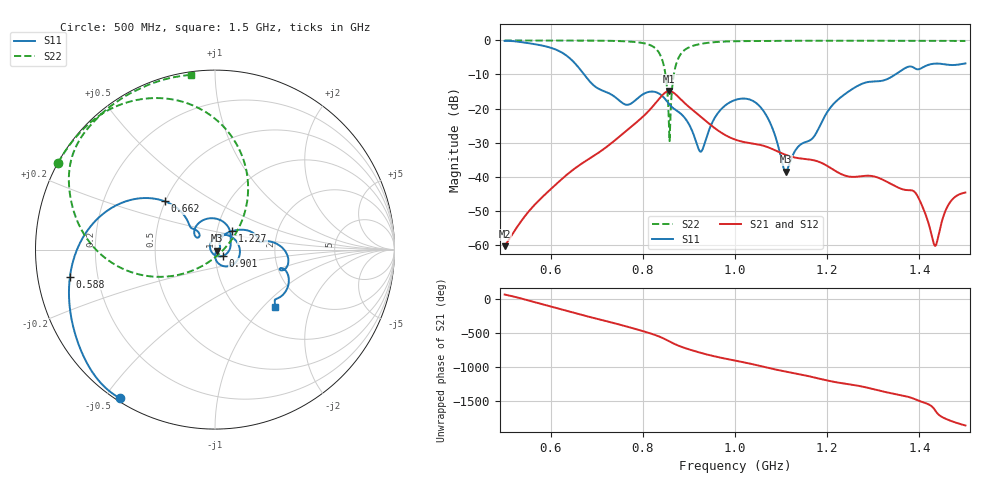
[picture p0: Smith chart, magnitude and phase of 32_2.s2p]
! TOUCHSTONE file generated by CST MICROWAVE STUDIO
! Date and time: Fri Oct  2 16:19:56 2020
! Project name: Scenario_1_Free_Space_out_of_line.cst
! Parameters = {Lambda=346.42; Step_1=17.321; dy1=-189.931; dx1=346; L_HA=400; MT=2.54; Rad_Dielectric=30; Rad_Lower=7.3; Rad_Upper=30; a_HA=580; a_WG=246; b_HA=500; b_WG=121; c_HA=0; c_WG=187; d_feed=85; h_feed=15; h_lower=18; h_upper=40}
! Header version: 2018
! Port assignment regex: !\s*Touchstone port\s*([0-9]+)\s*=\s*(CST MWS port|CST DS port)\s*([0-9]+|Zmin|Zmax)\s*\(\"(.*)\"\)(\s*mode\s*([0-9]+))?.*
! Touchstone port assignment:
! Touchstone port 1 = CST MWS port 1 ("")
! Touchstone port 2 = CST MWS port 2 ("")
# GHz S DB R 50
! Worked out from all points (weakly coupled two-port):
!   1003 points, 500 MHz to 1.5 GHz, reference 50 ohm
!   highest |S21| = -14.87 dB at 857 MHz (marker M1); lowest = -60.4 dB at 500 MHz (marker M2)
!   lowest |S11| = -38.5 dB at 1.11 GHz (marker M3), VSWR 1.02, Z = 51 - j0.676 ohm
!   |S11| at or under -10 dB: 672.5 MHz to 1.348 GHz (675.4 MHz wide, 66.9 % of centre)
!   |S22| runs from -29.6 to 0.0 dB; largest |S21 - S12| = 5.8e-05
!   S11 on the Smith chart (normalised r, x): 500 MHz: 0.01, -0.55; 588 MHz: 0.10, -0.09; 662 MHz: 0.49, +0.31; 901 MHz: 1.09, -0.08; 1.227 GHz: 1.18, +0.25; 1.5 GHz: 1.44, -1.16
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0.5  -0.14 -122.7  -60.41 72.2  -60.41 72.2  -0.01 151.1
0.588  -1.70 -169.5  -45.20 -82.3  -45.20 -82.3  -0.02 145.0
0.662  -8.19 136.2  -36.66 142.0  -36.66 142.0  -0.04 138.7
0.667  -9.04 134.1  -36.20 132.8  -36.20 132.8  -0.04 138.3
0.762  -18.81 138.9  -26.78 -34.3  -26.78 -34.3  -0.26 124.8
0.834  -15.51 80.7  -17.36 176.3  -17.36 176.3  -3.37 85.2
0.847  -16.99 56.6  -15.47 137.0  -15.47 137.0  -8.35 61.1
0.857  -18.67 41.4  -14.87 102.2  -14.87 102.2  -26.40 0.4
0.874  -20.66 19.1  -16.18 46.4  -16.18 46.4  -6.25 -165.2
0.901  -24.83 -37.0  -19.62 -18.9  -19.62 -18.9  -1.97 166.9
0.927  -32.57 -160.9  -22.54 -71.1  -22.54 -71.1  -0.99 155.7
0.96  -21.88 76.5  -26.14 -126.9  -26.14 -126.9  -0.46 147.2
1  -17.50 12.1  -29.10 177.3  -29.10 177.3  -0.24 140.2
1.061  -20.55 -68.6  -30.89 87.8  -30.89 87.8  -0.16 133.2
1.11  -38.52 -34.0  -33.60 14.7  -33.59 14.7  -0.11 128.8
1.167  -28.92 41.5  -35.08 -64.2  -35.08 -64.2  -0.10 124.1
1.227  -16.97 47.0  -39.02 -151.3  -39.02 -151.3  -0.08 119.5
1.334  -11.12 9.5  -41.83 61.5  -41.83 61.5  -0.09 111.4
1.392  -8.31 -17.4  -44.82 -37.1  -44.82 -37.1  -0.09 106.9
1.434  -6.81 -28.2  -60.31 165.8  -60.31 165.8  -0.11 103.5
1.464  -7.17 -38.8  -48.07 18.3  -48.06 18.3  -0.13 101.0
1.5  -6.75 -43.7  -44.67 -60.7  -44.66 -61.3  -0.15 97.9
